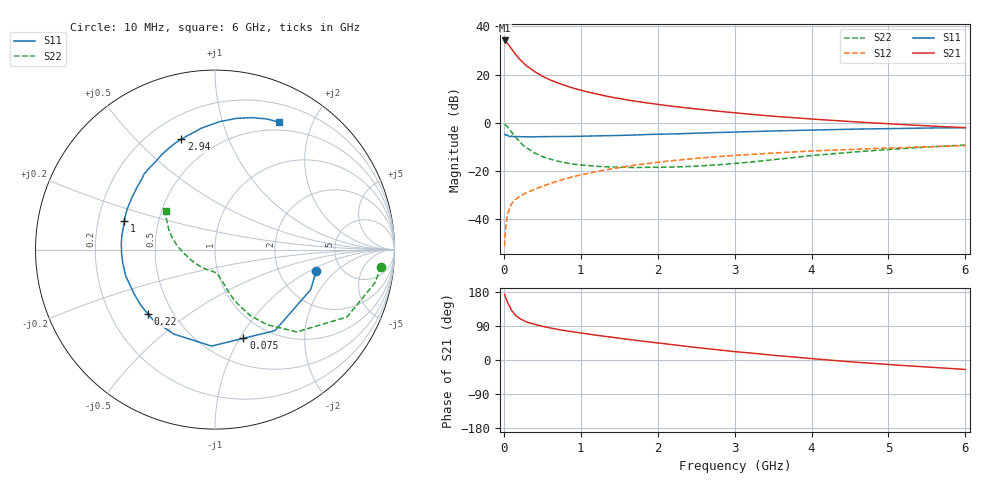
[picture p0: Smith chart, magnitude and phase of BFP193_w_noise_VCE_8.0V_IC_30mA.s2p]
! Infineon Technologies  Discrete & RF Semiconductors
! BFP193
! VCE = 8.0 V,  IC =  30 mA
! Common Emitter S-Parameters:  Jan 2016
# GHz  S  MA  R  50
!  f  S11  S21  S12  S22
! GHz  MAG  ANG  MAG  ANG  MAG  ANG  MAG  ANG
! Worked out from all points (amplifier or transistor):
!   210 points, 10 MHz to 6 GHz, reference 50 ohm
!   highest |S21| = 34.1 dB at 10 MHz (marker M1)
!   |S21| within 3 dB of that: start of sweep to 88.76 MHz
!   unconditionally stable (mu >= 1): 736.2 MHz to 3.934 GHz
!   at 185 MHz: K = 0.55, MSG = 29.1 dB, |S12| = -30.9 dB
!   at 1.52 GHz: K = 1.07, MAG = 12.6 dB, |S12| = -18.4 dB
!   at 6 GHz: K = 0.93, MSG = 3.7 dB, |S12| = -9.4 dB
!   lowest NFmin = 1.90 dB at 450 MHz
!   S11 on the Smith chart (normalised r, x): 10 MHz: 3.27, -1.17; 75 MHz: 0.77, -1.04; 220 MHz: 0.36, -0.36; 1 GHz: 0.31, +0.14; 2.94 GHz: 0.33, +0.69; 6 GHz: 0.40, +1.55
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0.01  0.577 -11.9  50.94 173.5  0.0028 84.2  0.9294 -5.9
0.02  0.5779 -22.7  49.11 166.3  0.006 81.9  0.9112 -11.6
0.05  0.5616 -53.5  44.11 150.2  0.0129 69.7  0.8253 -27.1
0.075  0.519 -72.3  38.63 141.7  0.017 61.8  0.7268 -35.0
0.1  0.5378 -92.0  34.26 130.8  0.0212 57.0  0.6464 -45.2
0.15  0.5237 -116.1  26.54 118.1  0.026 53.3  0.5068 -55.5
0.2  0.522 -131.6  21.39 110.1  0.0295 51.9  0.4136 -62.0
0.22  0.5177 -136.1  19.84 108.0  0.0309 52.2  0.3858 -63.5
0.26  0.5158 -144.6  17.05 103.5  0.0337 52.9  0.3361 -66.7
0.3  0.5137 -151.3  14.98 100.0  0.0362 53.6  0.3015 -69.1
0.4  0.5184 -163.4  11.53 93.9  0.0421 55.5  0.2381 -72.9
0.5  0.5194 -171.5  9.276 88.8  0.0483 57.5  0.2002 -75.2
0.7  0.5229 176.4  6.717 80.6  0.0623 59.5  0.1614 -79.5
1  0.5299 162.5  4.739 71.1  0.0836 59.3  0.1349 -85.5
1.02  0.5306 161.8  4.656 70.6  0.085 59.3  0.134 -86.0
1.4  0.5465 147.9  3.405 60.2  0.1117 56.6  0.1227 -95.9
2.02  0.5821 129.9  2.392 44.6  0.1543 50.3  0.12 -117.1
2.94  0.6426 107.0  1.652 23.5  0.209 39.3  0.142 -153.8
3.1  0.6521 103.8  1.565 20.4  0.2173 37.4  0.1492 -159.7
4.1  0.7185 86.3  1.174 2.0  0.2658 25.8  0.2174 172.3
5.1  0.7673 73.0  0.941 -13.3  0.3048 15.1  0.2883 154.6
6  0.7944 63.2  0.797 -24.9  0.3383 5.8  0.3484 142.2
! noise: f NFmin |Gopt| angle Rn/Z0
0.45  1.9  0.4  180  0.09
0.9  1.95  0.43  -173  0.11
1.8  2.4  0.58  -144  0.24
